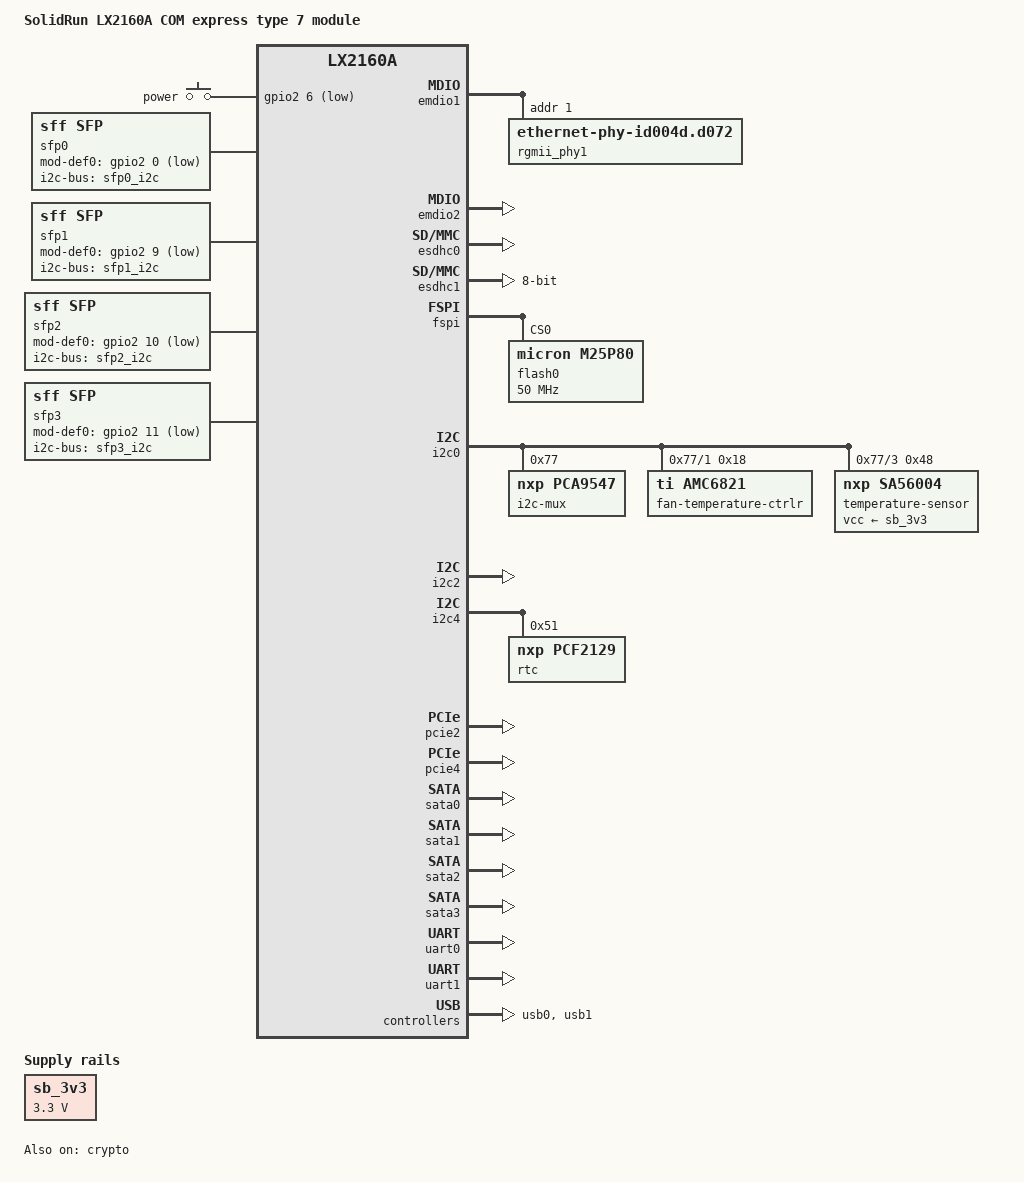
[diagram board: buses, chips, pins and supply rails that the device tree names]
/*
 * Device Tree file for LX2160ACEX7
 *
 * Copyright 2018 NXP
 *
 * Sriram Dash <sriram.dash@nxp.com>
 *
 * This file is dual-licensed: you can use it either under the terms
 * of the GPL or the X11 license, at your option. Note that this dual
 * licensing only applies to this file, and not this project as a
 * whole.
 *
 *  a) This library is free software; you can redistribute it and/or
 *     modify it under the terms of the GNU General Public License as
 *     published by the Free Software Foundation; either version 2 of the
 *     License, or (at your option) any later version.
 *
 *     This library is distributed in the hope that it will be useful,
 *     but WITHOUT ANY WARRANTY; without even the implied warranty of
 *     MERCHANTABILITY or FITNESS FOR A PARTICULAR PURPOSE.  See the
 *     GNU General Public License for more details.
 *
 * Or, alternatively,
 *
 *  b) Permission is hereby granted, free of charge, to any person
 *     obtaining a copy of this software and associated documentation
 *     files (the "Software"), to deal in the Software without
 *     restriction, including without limitation the rights to use,
 *     copy, modify, merge, publish, distribute, sublicense, and/or
 *     sell copies of the Software, and to permit persons to whom the
 *     Software is furnished to do so, subject to the following
 *     conditions:
 *
 *     The above copyright notice and this permission notice shall be
 *     included in all copies or substantial portions of the Software.
 *
 *     THE SOFTWARE IS PROVIDED "AS IS", WITHOUT WARRANTY OF ANY KIND,
 *     EXPRESS OR IMPLIED, INCLUDING BUT NOT LIMITED TO THE WARRANTIES
 *     OF MERCHANTABILITY, FITNESS FOR A PARTICULAR PURPOSE AND
 *     NONINFRINGEMENT. IN NO EVENT SHALL THE AUTHORS OR COPYRIGHT
 *     HOLDERS BE LIABLE FOR ANY CLAIM, DAMAGES OR OTHER LIABILITY,
 *     WHETHER IN AN ACTION OF CONTRACT, TORT OR OTHERWISE, ARISING
 *     FROM, OUT OF OR IN CONNECTION WITH THE SOFTWARE OR THE USE OR
 *     OTHER DEALINGS IN THE SOFTWARE.
 */

/dts-v1/;

#include <DeviceTreeInclude/fsl-lx2160a.dtsi>

/ {
  model = "SolidRun LX2160A COM express type 7 module";
  compatible = "fsl,lx2160a-cex7", "fsl,lx2160a";

  aliases {
    crypto = &crypto;
    serial0 = &uart0;
    serial1 = &uart1;
    serial2 = &uart2;
    serial3 = &uart3;
  };

  chosen {
    stdout-path = "serial0:115200n8";
  };

  gpio-keys {
    compatible = "gpio-keys";
    key {
      label = "power";
      linux,can-disable;
      linux,code = <116>;
      gpios = <&gpio2 6 1>;
    };
  };

  sb_3v3: regulator-sb3v3 {
    compatible = "regulator-fixed";
    regulator-name = "RT7290";
    regulator-min-microvolt = <3300000>;
    regulator-max-microvolt = <3300000>;
    regulator-boot-on;
    regulator-always-on;
  };

  sfp0: sfp-0 {
    compatible = "sff,sfp";
    i2c-bus = <&sfp0_i2c>;
    mod-def0-gpio = <&gpio2 0 1>;
  };
  sfp1: sfp-1 {
    compatible = "sff,sfp";
    i2c-bus = <&sfp1_i2c>;
    mod-def0-gpio = <&gpio2 9 1>;
  };
  sfp2: sfp-2 {
    compatible = "sff,sfp";
    i2c-bus = <&sfp2_i2c>;
    mod-def0-gpio = <&gpio2 10 1>;
  };
  sfp3: sfp-3 {
    compatible = "sff,sfp";
    i2c-bus = <&sfp3_i2c>;
    mod-def0-gpio = <&gpio2 11 1>;
  };
};

&crypto {
  status = "okay";
};

&dpmac3 {
  fixed-link {
    speed = <10000>;
    full-duplex;
  };
};

&dpmac4 {
  fixed-link {
    speed = <10000>;
    full-duplex;
  };
};

&dpmac5 {
  fixed-link {
    speed = <10000>;
    full-duplex;
  };
};

&dpmac6 {
  fixed-link {
    speed = <10000>;
    full-duplex;
  };
};

&dpmac7 {
  sfp = <&sfp0>;
  managed = "in-band-status";
};

&dpmac8 {
  sfp = <&sfp1>;
  managed = "in-band-status";
};

&dpmac9 {
  sfp = <&sfp2>;
  managed = "in-band-status";
};

&dpmac10 {
  sfp = <&sfp3>;
  managed = "in-band-status";
};

&dpmac17 {
	phy-handle = <&rgmii_phy1>;
	phy-connection-type = "rgmii-id";
};

&dpmac18 {
  status = "disabled";
};

&emdio1 {
  rgmii_phy1: ethernet-phy@1 {
    /* AR8035 PHY - "compatible" property not strictly needed */
    compatible = "ethernet-phy-id004d.d072";
    reg = <0x1>;
    /* Poll mode - no "interrupts" property defined */
  };
};

&emdio2 {
  status = "okay";
};

&esdhc0 {
  sd-uhs-sdr104;
  sd-uhs-sdr50;
  sd-uhs-sdr25;
  sd-uhs-sdr12;
  status = "okay";
};

&esdhc1 {
  mmc-hs200-1_8v;
  mmc-hs400-1_8v;
  bus-width = <8>;
  status = "okay";
};

&fspi {
  status = "okay";
//  nxp,fspi-has-second-chip;
  uefi-runtime;

  flash0: mt35xu512aba@0 {
    #address-cells = <1>;
    #size-cells = <1>;
    compatible = "micron,m25p80";
    m25p,fast-read;
    spi-max-frequency = <50000000>;
    reg = <0>;
    /* The following setting enables 1-1-8 (CMD-ADDR-DATA) mode */
    spi-rx-bus-width = <8>; /* 8 SPI Rx lines */
    spi-tx-bus-width = <1>; /* 1 SPI Tx line */
    uefi-runtime;
  };

};

&i2c0 {
  status = "okay";

  i2c-mux@77 {
    compatible = "nxp,pca9547";
    reg = <0x77>;
    #address-cells = <1>;
    #size-cells = <0>;

    i2c@1 {
      #address-cells = <1>;
      #size-cells = <0>;
      reg = <0x1>;
      fan-temperature-ctrlr@18 {
        compatible = "ti,amc6821";
        reg = <0x18>;
        cooling-min-state = <0>;
        cooling-max-state = <9>;
        #cooling-cells = <2>;
      };
    };
    i2c@3 {
      #address-cells = <1>;
      #size-cells = <0>;
      reg = <0x3>;

      temperature-sensor@48 {
        compatible = "nxp,sa56004";
        reg = <0x48>;
        vcc-supply = <&sb_3v3>;
      };
    };
    sfp0_i2c: i2c@4 {
      #address-cells = <1>;
      #size-cells = <0>;
      reg = <0x4>;
    };
    sfp1_i2c: i2c@5 {
      #address-cells = <1>;
      #size-cells = <0>;
      reg = <0x5>;
    };
    sfp2_i2c: i2c@6 {
      #address-cells = <1>;
      #size-cells = <0>;
      reg = <0x6>;
    };
    sfp3_i2c: i2c@7 {
      #address-cells = <1>;
      #size-cells = <0>;
      reg = <0x7>;
    };
  };
};

&i2c1 {
  status = "disabled";
};

&i2c2 {
  status = "okay";
};

&i2c3 {
  status = "disabled";
};

&i2c4 {
  status = "okay";

  rtc@51 {
    compatible = "nxp,pcf2129";
    reg = <0x51>;
    /* IRQ10_B */
    interrupts = <0 150 0x4>;
  };

};

&i2c5 {
  status = "disabled";
};

&i2c6 {
  status = "disabled";
};

&i2c7 {
  status = "disabled";
};

&pcie2 {
  iommu-map = <0 &smmu 0 0>;
  msi-map-mask = <0xfff>;
  status = "okay";
};

&pcie4 {
  iommu-map = <0 &smmu 0 0>;
  msi-map-mask = <0xfff>;
  status = "okay";
};

&sata0 {
  status = "okay";
};

&sata1 {
  status = "okay";
};

&sata2 {
  status = "okay";
};

&sata3 {
  status = "okay";
};

&uart0 {
  status = "okay";
};

&uart1 {
  status = "okay";
};

&usb0 {
  status = "okay";
};

&usb1 {
  status = "okay";
};
